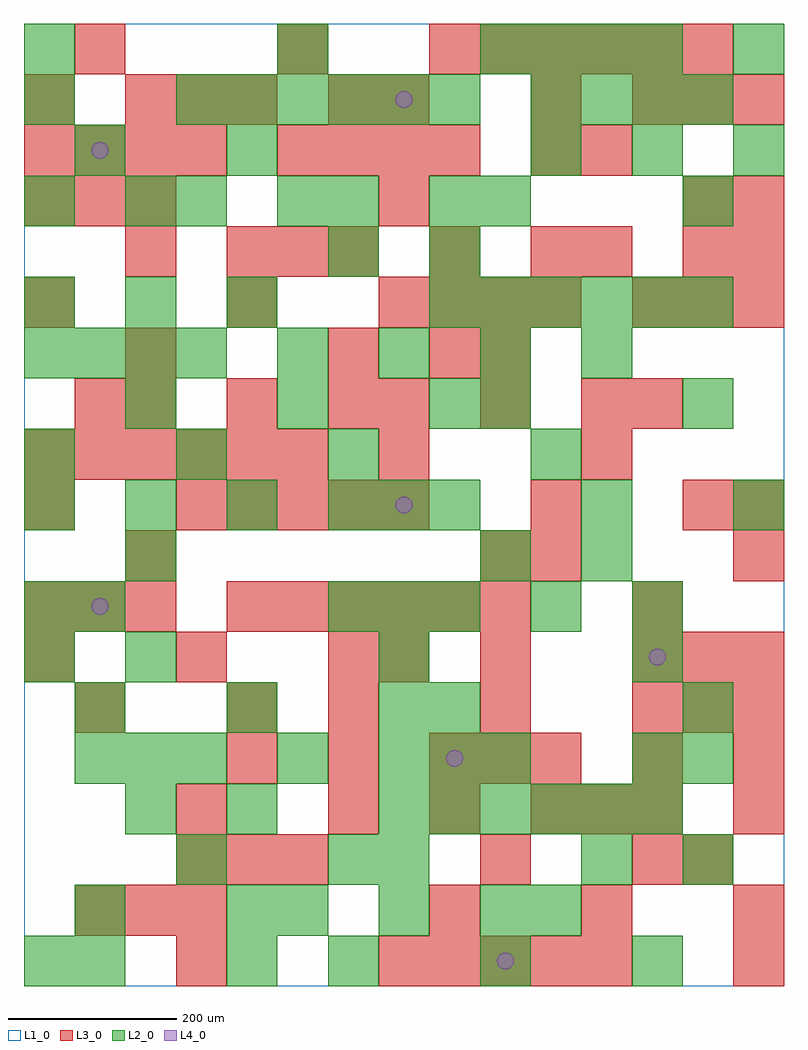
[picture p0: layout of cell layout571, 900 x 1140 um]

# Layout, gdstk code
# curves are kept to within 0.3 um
import gdstk
lib = gdstk.Library(unit=1e-6, precision=1e-09)
def R(c, l, rs):  # rectangles x0, y0, x1, y1
    for r in rs: c.add(gdstk.rectangle(r[:2], r[2:], *l))
def A(c, l, x, y, w, h, nx, ny, dx, dy):  # array of equal rectangles
    R(c, l, [(x+i*dx, y+j*dy, x+i*dx+w, y+j*dy+h) for i in range(nx) for j in range(ny)])
def P(c, l, *ps):  # polygons
    for p in ps: c.add(gdstk.Polygon(p, *l))
L1_0 = (1, 0)
L2_0 = (2, 0)
L3_0 = (3, 0)
L4_0 = (4, 0)

layout571 = lib.new_cell('layout571')
R(layout571, L1_0, [(0,0,900,1140)])
A(layout571, L2_0, 360, 0, 60, 60, 3, 1, 180, 0)
A(layout571, L2_0, 300, 60, 60, 60, 3, 1, 120, 0)
A(layout571, L2_0, 420, 180, 60, 60, 6, 1, 60, 0)
A(layout571, L2_0, 60, 240, 60, 60, 3, 1, 60, 0)
A(layout571, L2_0, 420, 240, 60, 60, 3, 1, 60, 0)
A(layout571, L2_0, 60, 300, 60, 60, 3, 1, 180, 0)
A(layout571, L2_0, 120, 360, 60, 60, 3, 1, 300, 0)
A(layout571, L2_0, 360, 420, 60, 60, 3, 1, 60, 0)
A(layout571, L2_0, 0, 540, 60, 60, 4, 1, 120, 0)
A(layout571, L2_0, 480, 540, 60, 60, 3, 1, 180, 0)
A(layout571, L2_0, 0, 600, 60, 60, 3, 1, 180, 0)
A(layout571, L2_0, 120, 660, 60, 60, 3, 1, 180, 0)
A(layout571, L2_0, 0, 720, 60, 60, 4, 1, 60, 0)
A(layout571, L2_0, 300, 720, 60, 60, 4, 1, 120, 0)
A(layout571, L2_0, 0, 780, 60, 60, 3, 1, 120, 0)
A(layout571, L2_0, 480, 780, 60, 60, 6, 1, 60, 0)
A(layout571, L2_0, 600, 960, 60, 60, 3, 1, 120, 0)
A(layout571, L2_0, 180, 1020, 60, 60, 6, 1, 60, 0)
A(layout571, L2_0, 600, 1020, 60, 60, 4, 1, 60, 0)
A(layout571, L2_0, 540, 1080, 60, 60, 4, 1, 60, 0)
R(layout571, L2_0, [(0,0,60,60), (60,0,120,60), (240,0,300,60), (60,60,120,120), (240,60,300,120), (600,60,660,120), (180,120,240,180), (360,120,420,180), (420,120,480,180), (660,120,720,180), (780,120,840,180), (120,180,180,240), (240,180,300,240), (300,240,360,300), (720,240,780,300), (780,240,840,300), (480,300,540,360), (780,300,840,360), (0,360,60,420), (0,420,60,480), (60,420,120,480), (600,420,660,480), (720,420,780,480), (120,480,180,540), (540,480,600,540), (660,480,720,540), (420,540,480,600), (600,600,660,660), (540,660,600,720), (780,660,840,720), (360,840,420,900), (480,840,540,900), (0,900,60,960), (120,900,180,960), (180,900,240,960), (300,900,360,960), (360,900,420,960), (480,900,540,960), (540,900,600,960), (780,900,840,960), (60,960,120,1020), (240,960,300,1020), (0,1020,60,1080), (0,1080,60,1140), (300,1080,360,1140), (840,1080,900,1140)])
A(layout571, L3_0, 420, 0, 60, 60, 5, 1, 60, 0)
A(layout571, L3_0, 60, 60, 60, 60, 3, 1, 60, 0)
A(layout571, L3_0, 480, 60, 60, 60, 3, 1, 180, 0)
A(layout571, L3_0, 180, 120, 60, 60, 3, 1, 60, 0)
A(layout571, L3_0, 540, 120, 60, 60, 1, 4, 0, 120)
A(layout571, L3_0, 360, 180, 60, 60, 3, 1, 120, 0)
A(layout571, L3_0, 720, 180, 60, 60, 1, 3, 0, 240)
A(layout571, L3_0, 240, 240, 60, 60, 3, 1, 120, 0)
A(layout571, L3_0, 600, 240, 60, 60, 3, 1, 120, 0)
A(layout571, L3_0, 360, 300, 60, 60, 3, 1, 180, 0)
A(layout571, L3_0, 0, 360, 60, 60, 3, 1, 180, 0)
A(layout571, L3_0, 720, 360, 60, 60, 3, 2, 60, 420)
A(layout571, L3_0, 0, 420, 60, 60, 3, 2, 60, 480)
A(layout571, L3_0, 240, 420, 60, 60, 6, 1, 60, 0)
A(layout571, L3_0, 0, 540, 60, 60, 1, 3, 0, 240)
A(layout571, L3_0, 180, 540, 60, 60, 5, 1, 60, 0)
A(layout571, L3_0, 0, 600, 60, 60, 6, 1, 60, 0)
A(layout571, L3_0, 120, 660, 60, 60, 3, 1, 120, 0)
A(layout571, L3_0, 420, 660, 60, 60, 3, 1, 120, 0)
A(layout571, L3_0, 420, 780, 60, 60, 4, 1, 60, 0)
A(layout571, L3_0, 240, 840, 60, 60, 3, 1, 60, 0)
A(layout571, L3_0, 0, 960, 60, 60, 4, 1, 60, 0)
A(layout571, L3_0, 300, 960, 60, 60, 4, 1, 60, 0)
A(layout571, L3_0, 120, 1020, 60, 60, 3, 1, 60, 0)
A(layout571, L3_0, 720, 1020, 60, 60, 3, 1, 60, 0)
A(layout571, L3_0, 480, 1080, 60, 60, 6, 1, 60, 0)
R(layout571, L3_0, [(180,0,240,60), (840,0,900,60), (720,120,780,180), (780,120,840,180), (180,180,240,240), (660,180,720,240), (840,180,900,240), (60,300,120,360), (240,300,300,360), (780,300,840,360), (840,300,900,360), (420,360,480,420), (120,480,180,540), (600,480,660,540), (840,480,900,540), (600,540,660,600), (780,540,840,600), (840,540,900,600), (420,600,480,660), (660,600,720,660), (60,660,120,720), (120,720,180,780), (360,720,420,780), (480,720,540,780), (540,720,600,780), (240,780,300,840), (120,840,180,900), (480,840,540,900), (600,840,660,900), (660,840,720,900), (780,840,840,900), (840,840,900,900), (420,900,480,960), (780,900,840,960), (840,900,900,960), (600,960,660,1020), (660,960,720,1020), (360,1020,420,1080), (420,1020,480,1080), (600,1020,660,1080), (60,1080,120,1140), (300,1080,360,1140)])
P(layout571, L4_0, [(100,450),(99.239,453.827),(97.071,457.071),(93.827,459.239),(90,460),(86.173,459.239),(82.929,457.071),(80.761,453.827),(80,450),(80.761,446.173),(82.929,442.929),(86.173,440.761),(90,440),(93.827,440.761),(97.071,442.929),(99.239,446.173)],
  [(100,990),(99.239,993.827),(97.071,997.071),(93.827,999.239),(90,1000),(86.173,999.239),(82.929,997.071),(80.761,993.827),(80,990),(80.761,986.173),(82.929,982.929),(86.173,980.761),(90,980),(93.827,980.761),(97.071,982.929),(99.239,986.173)],
  [(460,570),(459.239,573.827),(457.071,577.071),(453.827,579.239),(450,580),(446.173,579.239),(442.929,577.071),(440.761,573.827),(440,570),(440.761,566.173),(442.929,562.929),(446.173,560.761),(450,560),(453.827,560.761),(457.071,562.929),(459.239,566.173)],
  [(460,1050),(459.239,1053.827),(457.071,1057.071),(453.827,1059.239),(450,1060),(446.173,1059.239),(442.929,1057.071),(440.761,1053.827),(440,1050),(440.761,1046.173),(442.929,1042.929),(446.173,1040.761),(450,1040),(453.827,1040.761),(457.071,1042.929),(459.239,1046.173)],
  [(520,270),(519.239,273.827),(517.071,277.071),(513.827,279.239),(510,280),(506.173,279.239),(502.929,277.071),(500.761,273.827),(500,270),(500.761,266.173),(502.929,262.929),(506.173,260.761),(510,260),(513.827,260.761),(517.071,262.929),(519.239,266.173)],
  [(580,30),(579.239,33.827),(577.071,37.071),(573.827,39.239),(570,40),(566.173,39.239),(562.929,37.071),(560.761,33.827),(560,30),(560.761,26.173),(562.929,22.929),(566.173,20.761),(570,20),(573.827,20.761),(577.071,22.929),(579.239,26.173)],
  [(760,390),(759.239,393.827),(757.071,397.071),(753.827,399.239),(750,400),(746.173,399.239),(742.929,397.071),(740.761,393.827),(740,390),(740.761,386.173),(742.929,382.929),(746.173,380.761),(750,380),(753.827,380.761),(757.071,382.929),(759.239,386.173)])

lib.write_gds('layout571.gds')
